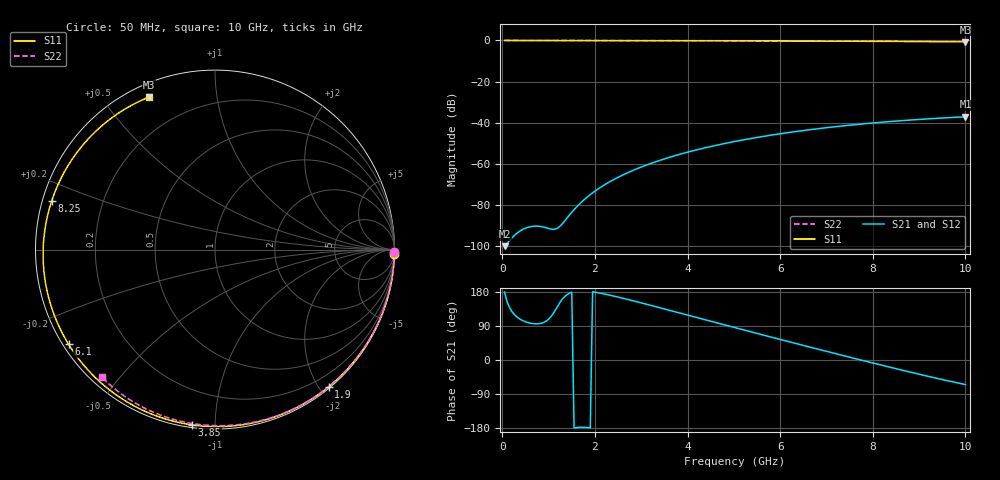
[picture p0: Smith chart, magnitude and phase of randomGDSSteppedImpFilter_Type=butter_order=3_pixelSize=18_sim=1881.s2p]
! freq	dB(S11)	phase(S11)	dB(S12)	phase(S12)
!  dB(S21)	phase(S21)	dB(S22)	phase(S22)
!S-par simulation data
#  GHz  S  DB  R 50
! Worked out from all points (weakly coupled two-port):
!   200 points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, 50 MHz to 10 GHz, reference 50 ohm
!   highest |S21| = -37.12 dB at 10 GHz (marker M1); lowest = -100.0 dB at 50 MHz (marker M2)
!   lowest |S11| = -0.7 dB at 10 GHz (marker M3), VSWR 25.94, Z = 2.75 + j32.7 ohm
!   |S11| at or under -10 dB: nowhere
!   |S22| runs from -0.4 to 0.0 dB; largest |S21 - S12| = 0
!   S11 on the Smith chart (normalised r, x): 50 MHz: 0, -84; 1.9 GHz: 0.02, -2.13; 3.85 GHz: 0.01, -0.88; 6.1 GHz: 0.02, -0.30; 8.25 GHz: 0.03, +0.15; 10 GHz: 0.06, +0.65
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0.05  -0.00 -1.4  -100.02 179.4  -100.02 179.4  -0.00 -0.8
0.8  -0.02 -21.6  -90.36 95.9  -90.36 95.9  -0.01 -12.1
1.6  -0.05 -42.6  -81.06 -178.2  -81.06 -178.2  -0.03 -24.1
1.65  -0.06 -43.9  -79.90 -177.6  -79.90 -177.6  -0.03 -24.8
1.75  -0.06 -46.5  -77.77 -177.6  -77.77 -177.6  -0.03 -26.3
1.9  -0.06 -50.3  -74.95 -179.2  -74.95 -179.2  -0.04 -28.5
2.2  -0.07 -57.9  -70.29 174.3  -70.29 174.3  -0.04 -32.9
2.55  -0.08 -66.6  -65.98 164.6  -65.98 164.6  -0.05 -38.0
2.95  -0.10 -76.3  -61.99 152.3  -61.99 152.3  -0.06 -43.7
3.4  -0.11 -87.0  -58.32 137.9  -58.32 137.9  -0.07 -50.0
3.85  -0.13 -97.4  -55.25 123.4  -55.25 123.4  -0.08 -56.3
4.45  -0.16 -111.0  -51.83 103.9  -51.83 103.9  -0.09 -64.4
5.05  -0.19 -124.2  -48.99 84.6  -48.99 84.6  -0.11 -72.4
6.1  -0.25 -147.1  -45.04 51.1  -45.04 51.1  -0.15 -85.8
6.7  -0.30 -160.3  -43.22 32.2  -43.22 32.2  -0.18 -93.3
7.5  -0.37 -178.5  -41.19 7.4  -41.19 7.4  -0.23 -102.9
8.25  -0.45 163.3  -39.64 -15.4  -39.64 -15.4  -0.28 -111.7
8.35  -0.46 160.8  -39.46 -18.4  -39.46 -18.4  -0.29 -112.9
8.8  -0.51 149.0  -38.70 -31.7  -38.70 -31.7  -0.33 -118.1
9.2  -0.56 137.9  -38.11 -43.2  -38.11 -43.2  -0.36 -122.6
9.6  -0.62 126.1  -37.58 -54.3  -37.58 -54.3  -0.40 -127.1
10  -0.67 113.5  -37.12 -64.8  -37.12 -64.8  -0.45 -131.7
